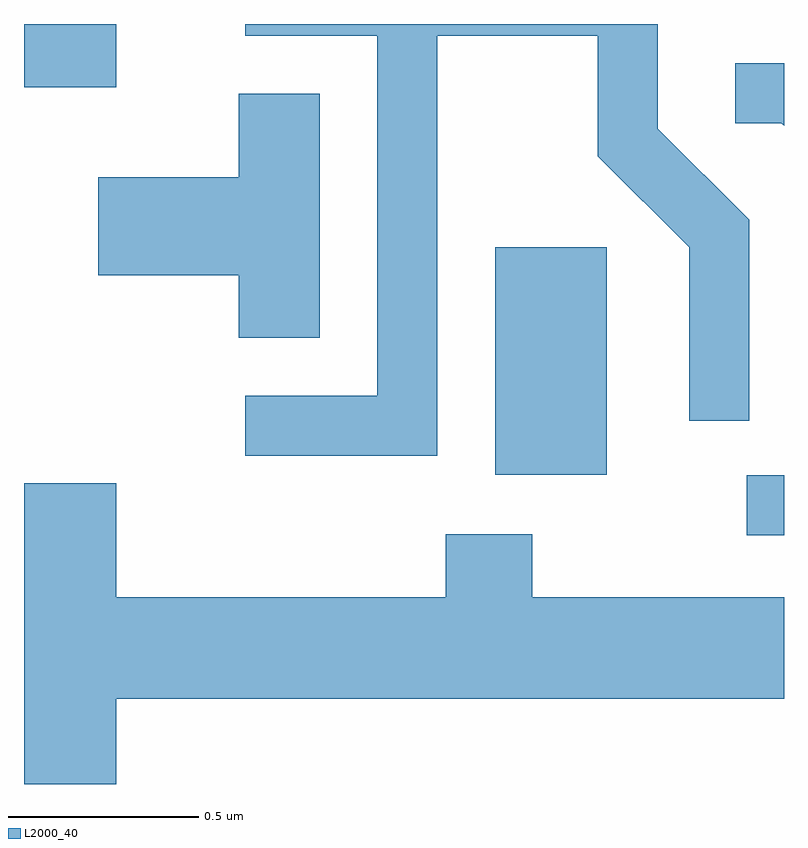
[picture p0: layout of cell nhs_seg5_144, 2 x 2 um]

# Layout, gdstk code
import gdstk
lib = gdstk.Library(unit=1e-6, precision=1e-09)
def R(c, l, rs):  # rectangles x0, y0, x1, y1
    for r in rs: c.add(gdstk.rectangle(r[:2], r[2:], *l))
def P(c, l, *ps):  # polygons
    for p in ps: c.add(gdstk.Polygon(p, *l))
L2000_40 = (2000, 40)

nhs_seg5_144 = lib.new_cell('nhs_seg5_144')
R(nhs_seg5_144, L2000_40, [(188.513,1401.726,188.611,1401.884), (187.851,1401.886,188.144,1402.484), (186.611,1402.906,186.854,1403.072)])
P(nhs_seg5_144, L2000_40, [(187.699,1403.041),(188.121,1403.041),(188.121,1402.724),(188.361,1402.484),(188.361,1402.028),(188.519,1402.028),(188.519,1402.557),(188.279,1402.797),(188.279,1403.072),(187.193,1403.072),(187.193,1403.041),(187.541,1403.041),(187.541,1402.094),(187.193,1402.094),(187.193,1401.936),(187.699,1401.936)],
  [(188.611,1402.969),(188.483,1402.969),(188.483,1402.811),(188.604,1402.811),(188.611,1402.804)],
  [(187.389,1402.889),(187.176,1402.889),(187.176,1402.669),(186.806,1402.669),(186.806,1402.411),(187.176,1402.411),(187.176,1402.246),(187.389,1402.246)],
  [(186.854,1401.296),(188.611,1401.296),(188.611,1401.564),(187.949,1401.564),(187.949,1401.729),(187.721,1401.729),(187.721,1401.564),(186.854,1401.564),(186.854,1401.864),(186.611,1401.864),(186.611,1401.072),(186.854,1401.072)])

lib.write_gds('nhs_seg5_144.gds')
